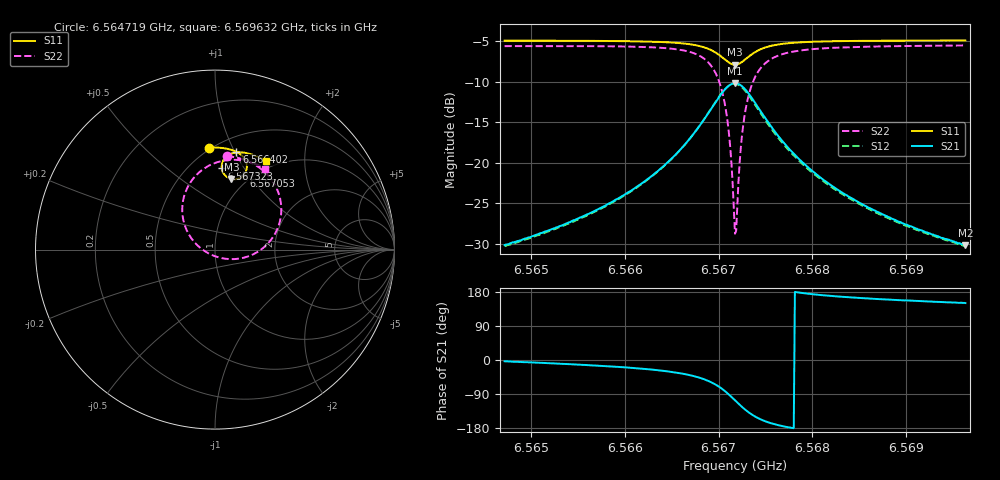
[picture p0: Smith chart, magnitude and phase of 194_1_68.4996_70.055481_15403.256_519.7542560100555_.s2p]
#  HZ  S  RI  R  50.00
! Rohde & Schwarz Vector Network Analyzer
! Rohde-Schwarz,ZNB20-2Port,1311601062101988,3.16
! Created: UTC 3/20/2024, 5:12:21 PM
! freq[Hz]  re:S11  im:S11  re:S21  im:S21  re:S12  im:S12  re:S22  im:S22
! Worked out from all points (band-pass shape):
!   401 points, 6.564719 GHz to 6.569632 GHz, reference 50 ohm
!   highest |S21| = -10.16 dB at 6.567175 GHz (marker M1); lowest = -30.2 dB at 6.569632 GHz (marker M2)
!   |S21| within 3 dB of the highest: 6.566931 GHz to 6.567422 GHz (490.9 kHz wide, 0.00748 % of centre)
!   lowest |S11| = -7.9 dB at 6.567175 GHz (marker M3), VSWR 2.35, Z = 42.7 + j40.1 ohm
!   |S11| at or under -10 dB: nowhere
!   |S22| runs from -28.8 to -5.5 dB; largest |S21 - S12| = 0.015
!   S11 on the Smith chart (normalised r, x): 6.564719 GHz: 0.49, +0.82; 6.566402 GHz: 0.64, +1.02; 6.567053 GHz: 0.91, +0.94; 6.567323 GHz: 0.70, +0.80; 6.569632 GHz: 0.89, +1.30
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6.5647189e9  -0.0348 0.568  0.0309 -0.00181  0.0304 -0.00238  0.0669 0.5221
6.5655418e9  0.0343 0.5666  0.0452 -0.0101  0.0444 -0.0108  0.149 0.5047
6.5663648e9  0.1149 0.5471  0.0802 -0.0413  0.0789 -0.0422  0.2691 0.4392
6.5664016e9  0.1193 0.545  0.0827 -0.0447  0.0816 -0.0456  0.2766 0.4324
6.5666595e9  0.1514 0.5225  0.1051 -0.0825  0.1034 -0.0841  0.3349 0.3581
6.566856e9  0.1744 0.4848  0.1171 -0.1486  0.1142 -0.1517  0.3695 0.2309
6.5669666e9  0.176 0.4478  0.1013 -0.2135  0.0954 -0.2175  0.344 0.1072
6.5670526e9  0.1579 0.4133  0.053 -0.2722  0.0427 -0.2753  0.2541 -0.00178
6.5670894e9  0.1422 0.4008  0.0178 -0.2921  0.00542 -0.2935  0.1884 -0.0364
6.567114e9  0.1291 0.3949  -0.0102 -0.3007  -0.0236 -0.3001  0.1368 -0.0499
6.5671631e9  0.0994 0.3917  -0.072 -0.3015  -0.086 -0.2961  0.0251 -0.0449
6.5671754e9  0.0917 0.3931  -0.0876 -0.2979  -0.1013 -0.2912  -0.00201 -0.0363
6.5671877e9  0.0843 0.3952  -0.1027 -0.2925  -0.1159 -0.2846  -0.0285 -0.0251
6.5671999e9  0.0771 0.3981  -0.1171 -0.2859  -0.1296 -0.2769  -0.0532 -0.0112
6.5672368e9  0.0587 0.4111  -0.1547 -0.2587  -0.1645 -0.247  -0.1154 0.0422
6.5672614e9  0.0495 0.4221  -0.1739 -0.2363  -0.1814 -0.2237  -0.1454 0.0841
6.5673228e9  0.038 0.4524  -0.1998 -0.1768  -0.2022 -0.164  -0.1809 0.1919
6.567421e9  0.0442 0.4926  -0.1967 -0.0989  -0.1945 -0.0892  -0.1619 0.3271
6.5675684e9  0.0722 0.525  -0.1611 -0.0358  -0.1576 -0.0304  -0.0857 0.4325
6.5679983e9  0.1404 0.5422  -0.0884 0.00964  -0.0863 0.011  0.0722 0.4991
6.5688212e9  0.2213 0.5243  -0.0429 0.0163  -0.0419 0.0166  0.2044 0.4841
6.5696318e9  0.283 0.4956  -0.0268 0.0153  -0.0263 0.0154  0.2808 0.4513
